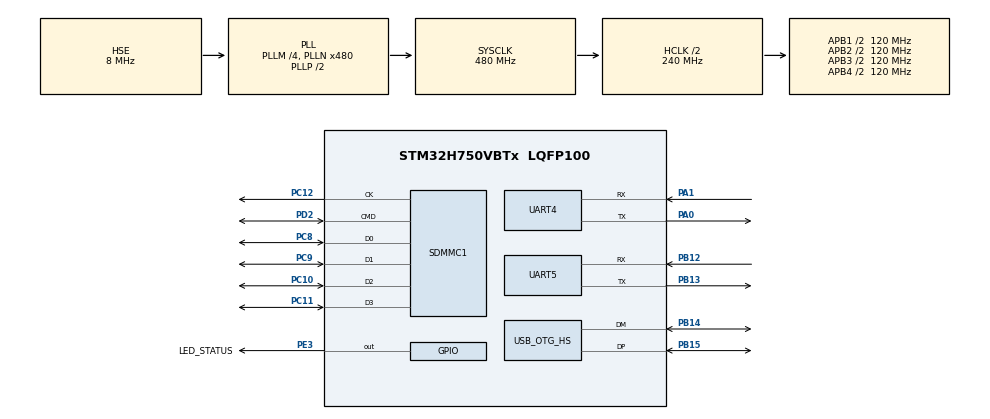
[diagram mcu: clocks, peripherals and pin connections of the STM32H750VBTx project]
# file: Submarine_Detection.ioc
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CORTEX_M7.CPU_DCache=Enabled
CORTEX_M7.CPU_ICache=Enabled
CORTEX_M7.default_mode_Activation=1
Dma.Request0=UART4_RX
Dma.Request1=UART5_TX
Dma.UART4_RX.0.Direction=DMA_PERIPH_TO_MEMORY
Dma.UART4_RX.0.EventEnable=DISABLE
Dma.UART4_RX.0.FIFOMode=DMA_FIFOMODE_DISABLE
Dma.UART4_RX.0.Instance=DMA1_Stream0
Dma.UART4_RX.0.MemDataAlignment=DMA_MDATAALIGN_BYTE
Dma.UART4_RX.0.MemInc=DMA_MINC_ENABLE
Dma.UART4_RX.0.Mode=DMA_CIRCULAR
Dma.UART4_RX.0.PeriphDataAlignment=DMA_PDATAALIGN_BYTE
Dma.UART4_RX.0.PeriphInc=DMA_PINC_DISABLE
Dma.UART4_RX.0.Polarity=HAL_DMAMUX_REQ_GEN_RISING
Dma.UART4_RX.0.Priority=DMA_PRIORITY_VERY_HIGH
Dma.UART4_RX.0.RequestNumber=1
Dma.UART4_RX.0.SignalID=NONE
Dma.UART4_RX.0.SyncEnable=DISABLE
Dma.UART4_RX.0.SyncPolarity=HAL_DMAMUX_SYNC_NO_EVENT
Dma.UART4_RX.0.SyncRequestNumber=1
Dma.UART4_RX.0.SyncSignalID=NONE
Dma.UART5_TX.1.Direction=DMA_MEMORY_TO_PERIPH
Dma.UART5_TX.1.EventEnable=DISABLE
Dma.UART5_TX.1.FIFOMode=DMA_FIFOMODE_DISABLE
Dma.UART5_TX.1.Instance=DMA1_Stream1
Dma.UART5_TX.1.MemDataAlignment=DMA_MDATAALIGN_BYTE
Dma.UART5_TX.1.MemInc=DMA_MINC_ENABLE
Dma.UART5_TX.1.Mode=DMA_CIRCULAR
Dma.UART5_TX.1.PeriphDataAlignment=DMA_PDATAALIGN_BYTE
Dma.UART5_TX.1.PeriphInc=DMA_PINC_DISABLE
Dma.UART5_TX.1.Polarity=HAL_DMAMUX_REQ_GEN_RISING
Dma.UART5_TX.1.Priority=DMA_PRIORITY_VERY_HIGH
Dma.UART5_TX.1.RequestNumber=1
Dma.UART5_TX.1.SignalID=NONE
Dma.UART5_TX.1.SyncEnable=DISABLE
Dma.UART5_TX.1.SyncPolarity=HAL_DMAMUX_SYNC_NO_EVENT
Dma.UART5_TX.1.SyncRequestNumber=1
Dma.UART5_TX.1.SyncSignalID=NONE
Mcu.Family=STM32H7
Mcu.Name=STM32H750VBTx
Mcu.Package=LQFP100
NVIC.DMA1_Stream0_IRQn=true\:0\:0\:false\:false\:true\:false\:true\:true
NVIC.DMA1_Stream1_IRQn=true\:0\:0\:false\:false\:true\:false\:true\:true
NVIC.OTG_HS_IRQn=true\:0\:0\:false\:false\:true\:false\:true\:true
NVIC.PriorityGroup=NVIC_PRIORITYGROUP_4
PA0.Mode=Asynchronous
PA0.Signal=UART4_TX
PA1.Mode=Asynchronous
PA1.Signal=UART4_RX
PB12.Mode=Asynchronous
PB12.Signal=UART5_RX
PB13.Mode=Asynchronous
PB13.Signal=UART5_TX
PB14.Mode=Device_Only_FS
PB14.Signal=USB_OTG_HS_DM
PB15.Mode=Device_Only_FS
PB15.Signal=USB_OTG_HS_DP
PC10.Mode=SD_4_bits_Wide_bus
PC10.Signal=SDMMC1_D2
PC11.Mode=SD_4_bits_Wide_bus
PC11.Signal=SDMMC1_D3
PC12.Mode=SD_4_bits_Wide_bus
PC12.Signal=SDMMC1_CK
PC8.Mode=SD_4_bits_Wide_bus
PC8.Signal=SDMMC1_D0
PC9.Mode=SD_4_bits_Wide_bus
PC9.Signal=SDMMC1_D1
PD2.Mode=SD_4_bits_Wide_bus
PD2.Signal=SDMMC1_CMD
PE3.GPIO_Label=LED_STATUS
PE3.Signal=GPIO_Output
PH0-OSC_IN\ (PH0).Mode=HSE-External-Clock-Source
PH0-OSC_IN\ (PH0).Signal=RCC_OSC_IN
ProjectManager.HeapSize=0x800
ProjectManager.StackSize=0x800
ProjectManager.TargetToolchain=STM32CubeIDE
RCC.ADCFreq_Value=16125000
RCC.APB1CLKDivider=RCC_HCLK_DIV4
RCC.APB1Freq_Value=120000000
RCC.APB2CLKDivider=RCC_HCLK_DIV2
RCC.APB2Freq_Value=120000000
RCC.APB3Freq_Value=120000000
RCC.APB4Freq_Value=120000000
RCC.CortexFreq_Value=480000000
RCC.D1PPRE=RCC_APB3_DIV2
RCC.D2PPRE1=RCC_APB1_DIV2
RCC.D2PPRE2=RCC_APB2_DIV2
RCC.D3PPRE=RCC_APB4_DIV2
RCC.DIVM1=4
RCC.DIVM3=4
RCC.DIVN1=480
RCC.DIVN3=480
RCC.DIVQ1=20
RCC.DIVQ3=8
RCC.FLatency=FLASH_LATENCY_4
RCC.HCLKFreq_Value=240000000
RCC.HPRE=RCC_HCLK_DIV2
RCC.HSE_VALUE=8000000
RCC.PLLFRACN=0
RCC.PLLM=25
RCC.PLLMUL=RCC_PLL_MUL9
RCC.PLLN=432
RCC.PLLQ=9
RCC.PLLSourceVirtual=RCC_PLLSOURCE_HSE
RCC.PRESCALERUSB=RCC_USBCLKSOURCE_PLL_DIV1_5
RCC.PWR_Regulator_Voltage_Scale=PWR_REGULATOR_VOLTAGE_SCALE0
RCC.SYSCLKFreq_VALUE=480000000
RCC.SYSCLKSource=RCC_SYSCLKSOURCE_PLLCLK
RCC.SYSCLKSourceVirtual=RCC_SYSCLKSOURCE_PLLCLK
RCC.USBFreq_Value=48000000
STMicroelectronics.X-CUBE-AI.10.2.0.ActivationBufferSizeList=3339352
STMicroelectronics.X-CUBE-AI.10.2.0.ActivationBuffers=pool0
STMicroelectronics.X-CUBE-AI.10.2.0.ActivationNames=pool0
STMicroelectronics.X-CUBE-AI.10.2.0.ActivationSizes=AI_YOLO_INT8_TFLITE_DATA_ACTIVATION_1_SIZE
STMicroelectronics.X-CUBE-AI.10.2.0.ApplicationCcDeviceJjApplication=ApplicationTemplate
STMicroelectronics.X-CUBE-AI.10.2.0.HeapSize=0x800
STMicroelectronics.X-CUBE-AI.10.2.0.InternalRamActivationBufferMaxSize=AI_YOLO_INT8_TFLITE_DATA_ACTIVATIONS_SIZE
STMicroelectronics.X-CUBE-AI.10.2.0.MaximumNumberOfInputLayer=1
STMicroelectronics.X-CUBE-AI.10.2.0.MaximumNumberOfOutputLayer=1
STMicroelectronics.X-CUBE-AI.10.2.0.MaximumSizeOfInputLayer=1
STMicroelectronics.X-CUBE-AI.10.2.0.MaximumSizeOfOutputLayer=1
STMicroelectronics.X-CUBE-AI.10.2.0.ModelHashList=faa1e3d89583574aeaa909b04b38ba211ce843c9cc3af6a122f06b5fb41efb8e
STMicroelectronics.X-CUBE-AI.10.2.0.ModelNameList=network
STMicroelectronics.X-CUBE-AI.10.2.0.ReadyForCodeGeneration=false
STMicroelectronics.X-CUBE-AI.10.2.0.StackSize=0x800
STMicroelectronics.X-CUBE-AI.10.2.0.WorkingBufferStartAddrList=0xFFFFFFFF
STMicroelectronics.X-CUBE-AI.10.2.0.XAaCUBEAaAICcArtificialOoIntelligenceJjCore=true
USB_DEVICE.CLASS_NAME_HS=CDC
USB_DEVICE.VirtualMode-CDC_HS=Cdc
USB_DEVICE.VirtualModeHS=Cdc_HS
USB_OTG_HS.VirtualMode-Device_Only_FS=Device_Only_FS
VP_FATFS_VS_SDIO.Mode=SDIO
VP_MEMORYMAP_VS_MEMORYMAP.Mode=CurAppReg
VP_RTC_VS_RTC_Activate.Mode=RTC_Enabled
VP_STMicroelectronics.X-CUBE-AI_VS_ArtificialOoIntelligenceJjXAaCUBEAaAI_10.2.0.Mode=ArtificialOoIntelligenceJjXAaCUBEAaAI
VP_STMicroelectronics.X-CUBE-AI_VS_DeviceJjApplication_10.2.0.Mode=DeviceJjApplication
VP_USB_DEVICE_VS_USB_DEVICE_CDC_HS.Mode=CDC_HS
board=custom

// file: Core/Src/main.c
/* USER CODE BEGIN Header */
/**
  ******************************************************************************
  * @file           : main.c
  * @brief          : Main program body
  ******************************************************************************
  * @attention
  *
  * Copyright (c) 2025 STMicroelectronics.
  * All rights reserved.
  *
  * This software is licensed under terms that can be found in the LICENSE file
  * in the root directory of this software component.
  * If no LICENSE file comes with this software, it is provided AS-IS.
  *
  ******************************************************************************
  */
/* USER CODE END Header */
#include "main.h"
#include "fatfs.h"
#include "app_x-cube-ai.h"
#include "usb_device.h"

/* USER CODE BEGIN Includes */
#include "uart_receiver.h"
#include "sd_card_loader.h"
#include "tflite_wrapper.h"
#include "image_preprocessing.h"
#include "yolo_processor.h"
/* USER CODE END Includes */

/* USER CODE BEGIN PD */
#define JPEG_BUFFER_SIZE (120 * 120 * 2)      // Further reduced resolution
#define RGB_BUFFER_SIZE (120 * 120 * 3)       // Further reduced resolution
#define TENSOR_BUFFER_SIZE (120 * 120 * 3)    // Further reduced resolution
/* USER CODE END PD */

RTC_HandleTypeDef hrtc;

SD_HandleTypeDef hsd1;

UART_HandleTypeDef huart4;
UART_HandleTypeDef huart5;
DMA_HandleTypeDef hdma_uart4_rx;
DMA_HandleTypeDef hdma_uart5_tx;

/* USER CODE BEGIN PV */
// Global contexts and buffers
TFLite_Context tflite_ctx;
DetectionResults detection_results;

uint8_t model_buffer[MODEL_BUFFER_SIZE];
uint8_t jpeg_frame_buffer[UART_RX_BUFFER_SIZE];
uint8_t rgb_image_buffer[RGB_BUFFER_SIZE];
float input_tensor_buffer[TENSOR_BUFFER_SIZE];

volatile uint32_t frame_counter = 0;
volatile uint32_t detection_counter = 0;
volatile uint32_t error_counter = 0;

// System status flags
volatile uint8_t system_initialized = 0;
volatile uint8_t model_loaded = 0;
volatile uint8_t inference_running = 0;
/* USER CODE END PV */

void SystemClock_Config(void);
static void MPU_Config(void);
static void MX_GPIO_Init(void);
static void MX_DMA_Init(void);
static void MX_UART4_Init(void);
static void MX_UART5_Init(void);
static void MX_RTC_Init(void);
static void MX_SDMMC1_SD_Init(void);
/* USER CODE BEGIN PFP */
void ProcessCameraFrame(uint8_t* jpeg_data, uint16_t length);
void System_Status_Update(uint8_t status);
void Send_System_Info(void);
void LED_Error_Blink(uint8_t pattern);
/* USER CODE END PFP */

/* USER CODE BEGIN 0 */

// Override HAL_GetTick for timing if needed
// uint32_t HAL_GetTick(void) {
//     return DWT->CYCCNT / (SystemCoreClock / 1000);
// }

/* USER CODE END 0 */

int main(void)
{

  /* USER CODE BEGIN 1 */
  uint32_t model_size = 0;
  /* USER CODE END 1 */

  /* MPU Configuration--------------------------------------------------------*/
  MPU_Config();

  /* Enable the CPU Cache */

  /* Enable I-Cache---------------------------------------------------------*/
  SCB_EnableICache();

  /* Enable D-Cache---------------------------------------------------------*/
  SCB_EnableDCache();

  /* MCU Configuration--------------------------------------------------------*/

  /* Reset of all peripherals, Initializes the Flash interface and the Systick. */
  HAL_Init();

  /* Configure the system clock */
  SystemClock_Config();

  /* Initialize all configured peripherals */
  MX_GPIO_Init();
  MX_DMA_Init();
  MX_UART4_Init();
  MX_UART5_Init();
  MX_RTC_Init();
  MX_SDMMC1_SD_Init();
  MX_FATFS_Init();
  MX_USB_DEVICE_Init();
  MX_X_CUBE_AI_Init();
  /* USER CODE BEGIN 2 */

    // Send startup message
    char startup_msg[] = "\r\n=== STM32H750 Submarine Detection System ===\r\n";
    HAL_UART_Transmit(&huart5, (uint8_t*)startup_msg, strlen(startup_msg), 1000);
    HAL_Delay(100);

    // Initialize system modules
    System_Status_Update(0); // LED off - initializing
    HAL_Delay(500);

    // Initialize UART receiver for camera data
    UART_Receiver_Init();
    char uart_msg[] = "UART Receiver initialized\r\n";
    HAL_UART_Transmit(&huart5, (uint8_t*)uart_msg, strlen(uart_msg), 1000);
    HAL_Delay(100);

    // Initialize SD Card
    HAL_GPIO_WritePin(LED_STATUS_GPIO_Port, LED_STATUS_Pin, GPIO_PIN_SET); // LED on during SD init
    char sd_init_msg[] = "Initializing SD Card...\r\n";
    HAL_UART_Transmit(&huart5, (uint8_t*)sd_init_msg, strlen(sd_init_msg), 1000);

    if (!SD_Card_Init()) {
      char error_msg[] = "ERROR: SD Card initialization failed - Check SD card connection\r\n";
      HAL_UART_Transmit(&huart5, (uint8_t*)error_msg, strlen(error_msg), 1000);
      LED_Error_Blink(1); // 1 blink pattern for SD card error
      Error_Handler();
    }

    char sd_msg[] = "SD Card initialized successfully\r\n";
    HAL_UART_Transmit(&huart5, (uint8_t*)sd_msg, strlen(sd_msg), 1000);
    HAL_Delay(100);

    // Load TFLite model from SD card
    char model_load_msg[] = "Loading model from SD card...\r\n";
    HAL_UART_Transmit(&huart5, (uint8_t*)model_load_msg, strlen(model_load_msg), 1000);

    if (!SD_Card_LoadModel(model_buffer, &model_size)) {
      char error_msg[150];
      snprintf(error_msg, sizeof(error_msg),
               "ERROR: Failed to load model from SD card\r\n"
               " - Ensure 'model.tflite' exists in root directory\r\n"
               " - File might be corrupted or too large\r\n");
      HAL_UART_Transmit(&huart5, (uint8_t*)error_msg, strlen(error_msg), 1000);
      LED_Error_Blink(2); // 2 blinks for model load error
      Error_Handler();
    }

    char model_msg[120];
    snprintf(model_msg, sizeof(model_msg),
             "Model loaded successfully: %lu bytes (%.2f KB)\r\n",
             model_size, (float)model_size / 1024.0f);
    HAL_UART_Transmit(&huart5, (uint8_t*)model_msg, strlen(model_msg), 1000);
    HAL_Delay(100);

    // Initialize TFLite interpreter
    char tflite_init_msg[] = "Initializing TFLite interpreter...\r\n";
    HAL_UART_Transmit(&huart5, (uint8_t*)tflite_init_msg, strlen(tflite_init_msg), 1000);

    if (!TFLite_Init(&tflite_ctx, model_buffer, model_size)) {
      char error_msg[] = "ERROR: TFLite initialization failed - Memory allocation error\r\n";
      HAL_UART_Transmit(&huart5, (uint8_t*)error_msg, strlen(error_msg), 1000);
      LED_Error_Blink(3); // 3 blinks for TFLite init error
      Error_Handler();
    }

    char tflite_msg[100];
    snprintf(tflite_msg, sizeof(tflite_msg),
             "TFLite interpreter initialized - Input: %lu, Output: %lu\r\n",  // Use %lu for uint32_t
             TFLite_GetInputSize(&tflite_ctx), TFLite_GetOutputSize(&tflite_ctx));
    HAL_UART_Transmit(&huart5, (uint8_t*)tflite_msg, strlen(tflite_msg), 1000);
    HAL_Delay(100);

    // Initialize detection results buffer
    char detection_init_msg[] = "Initializing detection system...\r\n";
    HAL_UART_Transmit(&huart5, (uint8_t*)detection_init_msg, strlen(detection_init_msg), 1000);

    detection_results.capacity = 10;
    detection_results.boxes = malloc(sizeof(BoundingBox) * detection_results.capacity);
    detection_results.count = 0;

    if (!detection_results.boxes) {
      char error_msg[] = "ERROR: Memory allocation failed for detection results\r\n";
      HAL_UART_Transmit(&huart5, (uint8_t*)error_msg, strlen(error_msg), 1000);
      LED_Error_Blink(4); // 4 blinks for memory allocation error
      Error_Handler();
    }

    // System initialized successfully
    system_initialized = 1;
    model_loaded = 1;

    // Send system ready message with summary
    char ready_msg[250];  // Increased buffer size
    snprintf(ready_msg, sizeof(ready_msg),
             "\r\n"
             "=== SYSTEM READY ===\r\n"
             "SD Card: OK\r\n"
             "Model: %lu bytes\r\n"
             "TFLite: Input %lu, Output %lu\r\n"  // Use %lu
             "Detection: %lu boxes\r\n"           // Use %lu
             "UART4: ESP32-CAM\r\n"
             "UART5: Output\r\n"
             "Status: Ready\r\n"
             "\r\n",
             model_size,
             TFLite_GetInputSize(&tflite_ctx),
             TFLite_GetOutputSize(&tflite_ctx),
             detection_results.capacity);
    HAL_UART_Transmit(&huart5, (uint8_t*)ready_msg, strlen(ready_msg), 1000);

    // Turn on status LED to indicate system ready
    System_Status_Update(1); // Solid LED - system ready

    // Quick LED test pattern
    for (int i = 0; i < 3; i++) {
        HAL_GPIO_WritePin(LED_STATUS_GPIO_Port, LED_STATUS_Pin, GPIO_PIN_RESET);
        HAL_Delay(100);
        HAL_GPIO_WritePin(LED_STATUS_GPIO_Port, LED_STATUS_Pin, GPIO_PIN_SET);
        HAL_Delay(100);
    }

  /* USER CODE END 2 */

  /* Infinite loop */
  /* USER CODE BEGIN WHILE */
  while (1)
  {
    // Process incoming UART frames from ESP32-CAM
    UART_Receiver_Process();

    uint16_t frame_length = 0;
    if (UART_Receiver_GetFrame(jpeg_frame_buffer, &frame_length)) {
      frame_counter++;

      // Process the received camera frame
      ProcessCameraFrame(jpeg_frame_buffer, frame_length);

      // Clear the frame buffer for next reception
      UART_Receiver_ClearFrame();

      // Send periodic system info every 10 frames
      if (frame_counter % 10 == 0) {
        Send_System_Info();
      }
    }

    // Add small delay to prevent overwhelming the system
    HAL_Delay(5);

    /* USER CODE END WHILE */

  MX_X_CUBE_AI_Process();
  }
}

void SystemClock_Config(void)
{
  RCC_OscInitTypeDef RCC_OscInitStruct = {0};
  RCC_ClkInitTypeDef RCC_ClkInitStruct = {0};

  /** Supply configuration update enable
  */
  HAL_PWREx_ConfigSupply(PWR_LDO_SUPPLY);

  /** Configure the main internal regulator output voltage
  */
  __HAL_PWR_VOLTAGESCALING_CONFIG(PWR_REGULATOR_VOLTAGE_SCALE0);

  while(!__HAL_PWR_GET_FLAG(PWR_FLAG_VOSRDY)) {}

  /** Initializes the RCC Oscillators according to the specified parameters
  * in the RCC_OscInitTypeDef structure.
  */
  RCC_OscInitStruct.OscillatorType = RCC_OSCILLATORTYPE_LSI|RCC_OSCILLATORTYPE_HSE;
  RCC_OscInitStruct.HSEState = RCC_HSE_BYPASS;
  RCC_OscInitStruct.LSIState = RCC_LSI_ON;
  RCC_OscInitStruct.PLL.PLLState = RCC_PLL_ON;
  RCC_OscInitStruct.PLL.PLLSource = RCC_PLLSOURCE_HSE;
  RCC_OscInitStruct.PLL.PLLM = 4;
  RCC_OscInitStruct.PLL.PLLN = 480;
  RCC_OscInitStruct.PLL.PLLP = 2;
  RCC_OscInitStruct.PLL.PLLQ = 20;
  RCC_OscInitStruct.PLL.PLLR = 2;
  RCC_OscInitStruct.PLL.PLLRGE = RCC_PLL1VCIRANGE_1;
  RCC_OscInitStruct.PLL.PLLVCOSEL = RCC_PLL1VCOWIDE;
  RCC_OscInitStruct.PLL.PLLFRACN = 0;
  if (HAL_RCC_OscConfig(&RCC_OscInitStruct) != HAL_OK)
  {
    Error_Handler();
  }

  /** Initializes the CPU, AHB and APB buses clocks
  */
  RCC_ClkInitStruct.ClockType = RCC_CLOCKTYPE_HCLK|RCC_CLOCKTYPE_SYSCLK
                              |RCC_CLOCKTYPE_PCLK1|RCC_CLOCKTYPE_PCLK2
                              |RCC_CLOCKTYPE_D3PCLK1|RCC_CLOCKTYPE_D1PCLK1;
  RCC_ClkInitStruct.SYSCLKSource = RCC_SYSCLKSOURCE_PLLCLK;
  RCC_ClkInitStruct.SYSCLKDivider = RCC_SYSCLK_DIV1;
  RCC_ClkInitStruct.AHBCLKDivider = RCC_HCLK_DIV2;
  RCC_ClkInitStruct.APB3CLKDivider = RCC_APB3_DIV2;
  RCC_ClkInitStruct.APB1CLKDivider = RCC_APB1_DIV2;
  RCC_ClkInitStruct.APB2CLKDivider = RCC_APB2_DIV2;
  RCC_ClkInitStruct.APB4CLKDivider = RCC_APB4_DIV2;

  if (HAL_RCC_ClockConfig(&RCC_ClkInitStruct, FLASH_LATENCY_4) != HAL_OK)
  {
    Error_Handler();
  }
}

static void MX_RTC_Init(void)
{

  /** Initialize RTC Only
  */
  hrtc.Instance = RTC;
  hrtc.Init.HourFormat = RTC_HOURFORMAT_24;
  hrtc.Init.AsynchPrediv = 127;
  hrtc.Init.SynchPrediv = 255;
  hrtc.Init.OutPut = RTC_OUTPUT_DISABLE;
  hrtc.Init.OutPutPolarity = RTC_OUTPUT_POLARITY_HIGH;
  hrtc.Init.OutPutType = RTC_OUTPUT_TYPE_OPENDRAIN;
  hrtc.Init.OutPutRemap = RTC_OUTPUT_REMAP_NONE;
  if (HAL_RTC_Init(&hrtc) != HAL_OK)
  {
    Error_Handler();
  }

}

static void MX_SDMMC1_SD_Init(void)
{

  hsd1.Instance = SDMMC1;
  hsd1.Init.ClockEdge = SDMMC_CLOCK_EDGE_RISING;
  hsd1.Init.ClockPowerSave = SDMMC_CLOCK_POWER_SAVE_DISABLE;
  hsd1.Init.BusWide = SDMMC_BUS_WIDE_4B;
  hsd1.Init.HardwareFlowControl = SDMMC_HARDWARE_FLOW_CONTROL_DISABLE;
  hsd1.Init.ClockDiv = 0;
  if (HAL_SD_Init(&hsd1) != HAL_OK)
  {
    Error_Handler();
  }

}

static void MX_UART4_Init(void)
{

  huart4.Instance = UART4;
  huart4.Init.BaudRate = 115200;
  huart4.Init.WordLength = UART_WORDLENGTH_8B;
  huart4.Init.StopBits = UART_STOPBITS_1;
  huart4.Init.Parity = UART_PARITY_NONE;
  huart4.Init.Mode = UART_MODE_TX_RX;
  huart4.Init.HwFlowCtl = UART_HWCONTROL_NONE;
  huart4.Init.OverSampling = UART_OVERSAMPLING_16;
  huart4.Init.OneBitSampling = UART_ONE_BIT_SAMPLE_DISABLE;
  huart4.Init.ClockPrescaler = UART_PRESCALER_DIV1;
  huart4.AdvancedInit.AdvFeatureInit = UART_ADVFEATURE_NO_INIT;
  if (HAL_UART_Init(&huart4) != HAL_OK)
  {
    Error_Handler();
  }
  if (HAL_UARTEx_SetTxFifoThreshold(&huart4, UART_TXFIFO_THRESHOLD_1_8) != HAL_OK)
  {
    Error_Handler();
  }
  if (HAL_UARTEx_SetRxFifoThreshold(&huart4, UART_RXFIFO_THRESHOLD_1_8) != HAL_OK)
  {
    Error_Handler();
  }
  if (HAL_UARTEx_DisableFifoMode(&huart4) != HAL_OK)
  {
    Error_Handler();
  }

}

static void MX_UART5_Init(void)
{

  huart5.Instance = UART5;
  huart5.Init.BaudRate = 115200;
  huart5.Init.WordLength = UART_WORDLENGTH_8B;
  huart5.Init.StopBits = UART_STOPBITS_1;
  huart5.Init.Parity = UART_PARITY_NONE;
  huart5.Init.Mode = UART_MODE_TX_RX;
  huart5.Init.HwFlowCtl = UART_HWCONTROL_NONE;
  huart5.Init.OverSampling = UART_OVERSAMPLING_16;
  huart5.Init.OneBitSampling = UART_ONE_BIT_SAMPLE_DISABLE;
  huart5.Init.ClockPrescaler = UART_PRESCALER_DIV1;
  huart5.AdvancedInit.AdvFeatureInit = UART_ADVFEATURE_NO_INIT;
  if (HAL_UART_Init(&huart5) != HAL_OK)
  {
    Error_Handler();
  }
  if (HAL_UARTEx_SetTxFifoThreshold(&huart5, UART_TXFIFO_THRESHOLD_1_8) != HAL_OK)
  {
    Error_Handler();
  }
  if (HAL_UARTEx_SetRxFifoThreshold(&huart5, UART_RXFIFO_THRESHOLD_1_8) != HAL_OK)
  {
    Error_Handler();
  }
  if (HAL_UARTEx_DisableFifoMode(&huart5) != HAL_OK)
  {
    Error_Handler();
  }

}

static void MX_DMA_Init(void)
{

  /* DMA controller clock enable */
  __HAL_RCC_DMA1_CLK_ENABLE();

  /* DMA interrupt init */
  /* DMA1_Stream0_IRQn interrupt configuration */
  HAL_NVIC_SetPriority(DMA1_Stream0_IRQn, 0, 0);
  HAL_NVIC_EnableIRQ(DMA1_Stream0_IRQn);
  /* DMA1_Stream1_IRQn interrupt configuration */
  HAL_NVIC_SetPriority(DMA1_Stream1_IRQn, 0, 0);
  HAL_NVIC_EnableIRQ(DMA1_Stream1_IRQn);

}

static void MX_GPIO_Init(void)
{
  GPIO_InitTypeDef GPIO_InitStruct = {0};

  /* GPIO Ports Clock Enable */
  __HAL_RCC_GPIOE_CLK_ENABLE();
  __HAL_RCC_GPIOH_CLK_ENABLE();
  __HAL_RCC_GPIOA_CLK_ENABLE();
  __HAL_RCC_GPIOB_CLK_ENABLE();
  __HAL_RCC_GPIOC_CLK_ENABLE();
  __HAL_RCC_GPIOD_CLK_ENABLE();

  /*Configure GPIO pin Output Level */
  HAL_GPIO_WritePin(LED_STATUS_GPIO_Port, LED_STATUS_Pin, GPIO_PIN_RESET);

  /*Configure GPIO pin : LED_STATUS_Pin */
  GPIO_InitStruct.Pin = LED_STATUS_Pin;
  GPIO_InitStruct.Mode = GPIO_MODE_OUTPUT_PP;
  GPIO_InitStruct.Pull = GPIO_NOPULL;
  GPIO_InitStruct.Speed = GPIO_SPEED_FREQ_LOW;
  HAL_GPIO_Init(LED_STATUS_GPIO_Port, &GPIO_InitStruct);

}

/* USER CODE BEGIN 4 */

/**
 * @brief Update system status LED
 * @param status: 0=Off, 1=Ready, 2=Processing, 3=Detection
 */
void System_Status_Update(uint8_t status) {
    static uint32_t last_blink_time = 0;

    switch(status) {
        case 0: // Off - Initializing
            HAL_GPIO_WritePin(LED_STATUS_GPIO_Port, LED_STATUS_Pin, GPIO_PIN_RESET);
            break;

        case 1: // Ready - Solid ON
            HAL_GPIO_WritePin(LED_STATUS_GPIO_Port, LED_STATUS_Pin, GPIO_PIN_SET);
            break;

        case 2: // Processing - Slow blink
            if (HAL_GetTick() - last_blink_time > 500) {
                HAL_GPIO_TogglePin(LED_STATUS_GPIO_Port, LED_STATUS_Pin);
                last_blink_time = HAL_GetTick();
            }
            break;

        case 3: // Detection - Fast blink
            for (int i = 0; i < 3; i++) {
                HAL_GPIO_WritePin(LED_STATUS_GPIO_Port, LED_STATUS_Pin, GPIO_PIN_SET);
                HAL_Delay(100);
                HAL_GPIO_WritePin(LED_STATUS_GPIO_Port, LED_STATUS_Pin, GPIO_PIN_RESET);
                HAL_Delay(100);
            }
            HAL_GPIO_WritePin(LED_STATUS_GPIO_Port, LED_STATUS_Pin, GPIO_PIN_SET);
            break;
    }
}

/**
 * @brief Error LED blink pattern
 * @param pattern: Error pattern code
 */
void LED_Error_Blink(uint8_t pattern) {
    while(1) {
        for (int i = 0; i < pattern; i++) {
            HAL_GPIO_WritePin(LED_STATUS_GPIO_Port, LED_STATUS_Pin, GPIO_PIN_SET);
            HAL_Delay(300);
            HAL_GPIO_WritePin(LED_STATUS_GPIO_Port, LED_STATUS_Pin, GPIO_PIN_RESET);
            HAL_Delay(300);
        }
        HAL_Delay(1000);
    }
}

/**
 * @brief Send system information over UART
 */
void Send_System_Info(void) {
    char info_msg[100];
    snprintf(info_msg, sizeof(info_msg),
             "System Info - Frames: %lu, Detections: %lu, Errors: %lu\r\n",
             frame_counter, detection_counter, error_counter);
    HAL_UART_Transmit(&huart5, (uint8_t*)info_msg, strlen(info_msg), 1000);
}

/**
 * @brief Process camera frame and run inference
 */
void ProcessCameraFrame(uint8_t* jpeg_data, uint16_t length) {
    // Indicate inference is running
    inference_running = 1;
    System_Status_Update(2); // LED blink - processing

    // Convert JPEG to RGB
    if (!Image_Preprocess_JPEGToRGB(jpeg_data, length, rgb_image_buffer, RGB_BUFFER_SIZE)) {
        char error_msg[] = "ERROR: JPEG to RGB conversion failed\r\n";
        HAL_UART_Transmit(&huart5, (uint8_t*)error_msg, strlen(error_msg), 100);
        error_counter++;
        inference_running = 0;
        System_Status_Update(1); // Back to ready state
        return;
    }

    // Normalize image for model input
    Image_Normalize(rgb_image_buffer, input_tensor_buffer,
                    MODEL_INPUT_WIDTH, MODEL_INPUT_HEIGHT, MODEL_INPUT_CHANNELS);

    // Run inference
    if (TFLite_RunInference(&tflite_ctx, input_tensor_buffer)) {
        // Get output data
        const float* output_data = TFLite_GetOutputBuffer(&tflite_ctx);

        if (YOLO_ProcessOutput(output_data, &detection_results, 0.5f, 0.4f)) {
            detection_counter += detection_results.count;

            // Send detection results over UART5
            YOLO_SendResultsUART(&detection_results);

            // Fast LED blink pattern for detection
            System_Status_Update(3);

            // Add timestamp to detection if RTC is available
            char timestamp_msg[50];
            RTC_TimeTypeDef sTime;
            RTC_DateTypeDef sDate;

            HAL_RTC_GetTime(&hrtc, &sTime, RTC_FORMAT_BIN);
            HAL_RTC_GetDate(&hrtc, &sDate, RTC_FORMAT_BIN);

            snprintf(timestamp_msg, sizeof(timestamp_msg),
                     "Time: %02d:%02d:%02d Detections: %lu\r\n",
                     sTime.Hours, sTime.Minutes, sTime.Seconds, detection_results.count);
            HAL_UART_Transmit(&huart5, (uint8_t*)timestamp_msg, strlen(timestamp_msg), 100);

        } else {
            // No detections found
            char no_detect_msg[] = "No objects detected\r\n";
            HAL_UART_Transmit(&huart5, (uint8_t*)no_detect_msg, strlen(no_detect_msg), 100);
        }
    } else {
        char error_msg[] = "ERROR: Inference failed\r\n";
        HAL_UART_Transmit(&huart5, (uint8_t*)error_msg, strlen(error_msg), 100);
        error_counter++;
    }

    inference_running = 0;
    System_Status_Update(1); // Back to ready state
}

/* USER CODE END 4 */

 /* MPU Configuration */

void MPU_Config(void)
{
  MPU_Region_InitTypeDef MPU_InitStruct = {0};

  /* Disables the MPU */
  HAL_MPU_Disable();

  /** Initializes and configures the Region and the memory to be protected
  */
  MPU_InitStruct.Enable = MPU_REGION_ENABLE;
  MPU_InitStruct.Number = MPU_REGION_NUMBER0;
  MPU_InitStruct.BaseAddress = 0x0;
  MPU_InitStruct.Size = MPU_REGION_SIZE_4GB;
  MPU_InitStruct.SubRegionDisable = 0x87;
  MPU_InitStruct.TypeExtField = MPU_TEX_LEVEL0;
  MPU_InitStruct.AccessPermission = MPU_REGION_NO_ACCESS;
  MPU_InitStruct.DisableExec = MPU_INSTRUCTION_ACCESS_DISABLE;
  MPU_InitStruct.IsShareable = MPU_ACCESS_SHAREABLE;
  MPU_InitStruct.IsCacheable = MPU_ACCESS_NOT_CACHEABLE;
  MPU_InitStruct.IsBufferable = MPU_ACCESS_NOT_BUFFERABLE;

  HAL_MPU_ConfigRegion(&MPU_InitStruct);
  /* Enables the MPU */
  HAL_MPU_Enable(MPU_PRIVILEGED_DEFAULT);

}

void Error_Handler(void)
{
  /* USER CODE BEGIN Error_Handler_Debug */
  /* User can add his own implementation to report the HAL error return state */
  __disable_irq();

  // Turn on LED to indicate error
  HAL_GPIO_WritePin(LED_STATUS_GPIO_Port, LED_STATUS_Pin, GPIO_PIN_SET);

  while (1)
  {
    // Optional: Send error message
    char error_msg[] = "Fatal error - system halted\r\n";
    HAL_UART_Transmit(&huart5, (uint8_t*)error_msg, strlen(error_msg), 1000);
    HAL_Delay(1000);
  }
  /* USER CODE END Error_Handler_Debug */
}
#ifdef USE_FULL_ASSERT
/**
  * @brief  Reports the name of the source file and the source line number
  *         where the assert_param error has occurred.
  * @param  file: pointer to the source file name
  * @param  line: assert_param error line source number
  * @retval None
  */
void assert_failed(uint8_t *file, uint32_t line)
{
  /* USER CODE BEGIN 6 */
  /* User can add his own implementation to report the file name and line number,
     ex: printf("Wrong parameters value: file %s on line %d\r\n", file, line) */
  char assert_msg[100];
  snprintf(assert_msg, sizeof(assert_msg), "Assert failed: %s line %lu\r\n", file, line);
  HAL_UART_Transmit(&huart5, (uint8_t*)assert_msg, strlen(assert_msg), 1000);
  while (1) {}
  /* USER CODE END 6 */
}
#endif /* USE_FULL_ASSERT */
